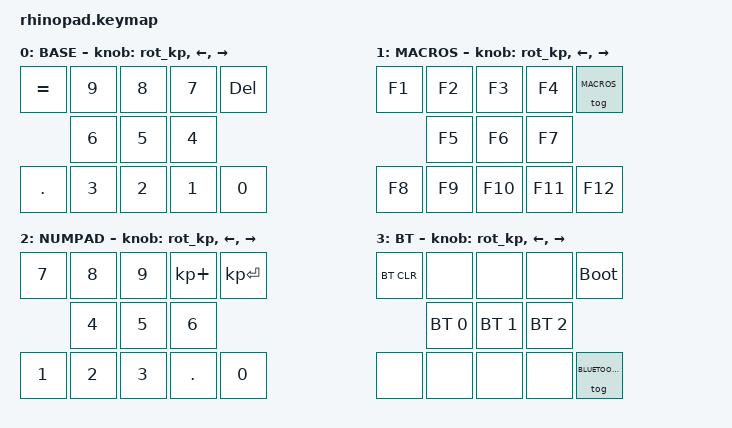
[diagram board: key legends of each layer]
#include <behaviors.dtsi>
#include <dt-bindings/zmk/keys.h>
#include <dt-bindings/zmk/bt.h>

/* Layer indices */
#define BASE       0
#define MACROS     1
#define NUMPAD     2
#define BLUETOOTH  3

/ {
    behaviors {

        /* Encoder rotation: two different key-presses depending on direction */
        rot_kp: behavior_sensor_rotate_kp {
            compatible = "zmk,behavior-sensor-rotate-key-press";
            label = "ENC_KP";
            #sensor-binding-cells = <2>;
            bindings = <&kp>, <&kp>;
        };
    };

    keymap {
        compatible = "zmk,keymap";

        /***************
         * LAYER 0 — BASE
         *
         * ,----------------------------------.
         * |  =  |  9  |  8  |  7  |  DEL |
         * `------+------+------+------+-----'
         *        |  6  |  5  |  4  |
         * ,------+------+------+------+-----.
         * |  .  |  3  |  2  |  1  |  0  |
         * `---------------------------------'
         *
         * (Encoder press is mapped separately as a key in the matrix and
         *  toggles the MACROS layer.)
         ***************/
        base_layer {
            label = "BASE";

            bindings = <
                &kp EQUAL   &kp N9      &kp N8      &kp N7      &kp DEL
                             &kp N6      &kp N5      &kp N4
                &kp DOT      &kp N3      &kp N2      &kp N1      &kp N0
            >;

            /* Encoder rotation: scroll left/right with arrow keys */
            sensor-bindings = <&rot_kp &kp LEFT &kp RIGHT>;
        };

        /***************
         * LAYER 1 — MACROS (unchanged except for encoder behavior)
         * You can keep or edit these as you like; they no longer affect
         * the BASE layer’s simple number layout.
         ***************/
        macros_layer {
            label = "MACROS";

            /* Re-use whatever layout you had here before, or keep this simple
             * placeholder layout if you wiped the old one.
             *
             * For now I’ll give you something basic you can customize later.
             */

            bindings = <
                &kp F1      &kp F2      &kp F3      &kp F4      &tog MACROS
                             &kp F5      &kp F6      &kp F7
                &kp F8      &kp F9      &kp F10     &kp F11     &kp F12
            >;

            sensor-bindings = <&rot_kp &kp LEFT &kp RIGHT>;
        };

        /***************
         * LAYER 2 — NUMPAD (optional extra layer)
         ***************/
        numpad_layer {
            label = "NUMPAD";

            bindings = <
                &kp N7      &kp N8      &kp N9      &kp KP_PLUS   &kp KP_ENTER
                             &kp N4      &kp N5      &kp N6
                &kp N1      &kp N2      &kp N3      &kp DOT       &kp N0
            >;

            sensor-bindings = <&rot_kp &kp LEFT &kp RIGHT>;
        };

        /***************
         * LAYER 3 — BLUETOOTH / RESET
         ***************/
        bt_layer {
            label = "BT";

            bindings = <
                &bt BT_CLR   &none         &none         &none         &bootloader
                              &bt BT_SEL 0  &bt BT_SEL 1  &bt BT_SEL 2
                &none         &none         &none         &none         &tog BLUETOOTH
            >;

            sensor-bindings = <&rot_kp &kp LEFT &kp RIGHT>;
        };
    };
};
